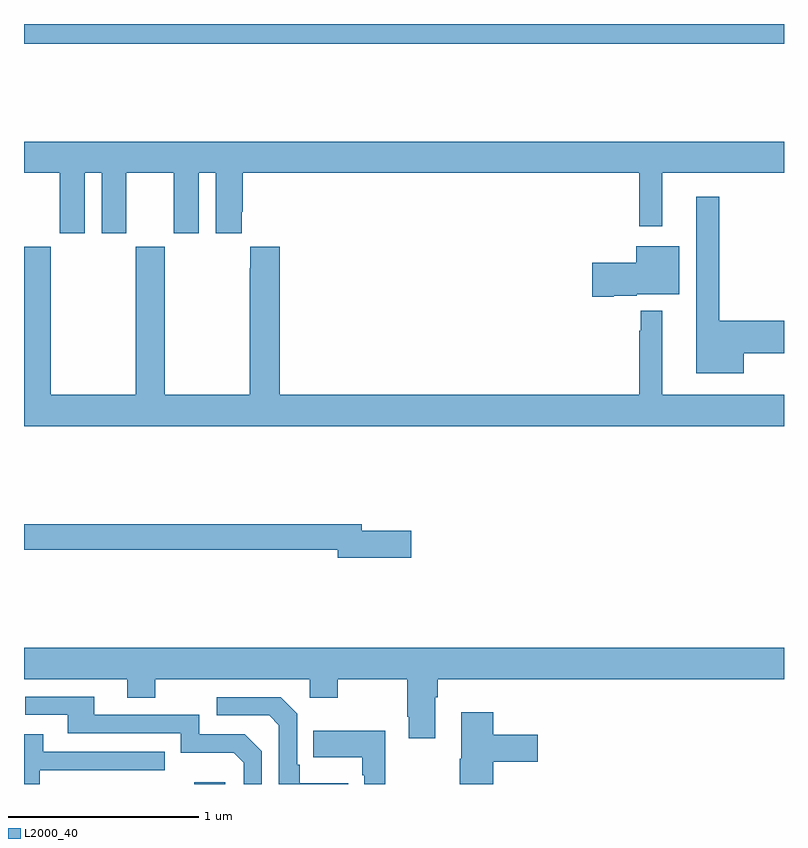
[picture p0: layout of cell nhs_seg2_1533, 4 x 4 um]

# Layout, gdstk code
import gdstk
lib = gdstk.Library(unit=1e-6, precision=1e-09)
def R(c, l, rs):  # rectangles x0, y0, x1, y1
    for r in rs: c.add(gdstk.rectangle(r[:2], r[2:], *l))
def P(c, l, *ps):  # polygons
    for p in ps: c.add(gdstk.Polygon(p, *l))
L2000_40 = (2000, 40)

nhs_seg2_1533 = lib.new_cell('nhs_seg2_1533')
R(nhs_seg2_1533, L2000_40, [(191.897,597.8,192.058,597.808), (191,601.696,195,601.8)])
P(nhs_seg2_1533, L2000_40, [(191.32,601.016),(191.408,601.016),(191.408,600.699),(191.539,600.699),(191.539,601.016),(191.789,601.016),(191.789,600.699),(191.92,600.699),(191.92,601.016),(192.008,601.016),(192.008,600.699),(192.145,600.699),(192.145,600.811),(192.152,600.811),(192.152,601.016),(194.238,601.016),(194.238,600.735),(194.359,600.735),(194.359,601.016),(195,601.016),(195,601.18),(191,601.18),(191,601.016),(191.189,601.016),(191.189,600.699),(191.32,600.699)],
  [(194.788,600.068),(195,600.068),(195,600.239),(194.659,600.239),(194.659,600.892),(194.537,600.892),(194.537,599.963),(194.788,599.963)],
  [(194.104,600.371),(194.226,600.371),(194.226,600.377),(194.449,600.377),(194.449,600.631),(194.222,600.631),(194.222,600.543),(193.992,600.543),(193.992,600.365),(194.104,600.365)],
  [(195,599.848),(194.359,599.848),(194.359,600.292),(194.245,600.292),(194.245,600.185),(194.238,600.185),(194.238,599.848),(192.347,599.848),(192.347,600.628),(192.191,600.628),(192.191,600.515),(192.187,600.515),(192.187,599.848),(191.742,599.848),(191.742,600.628),(191.587,600.628),(191.587,599.848),(191.142,599.848),(191.142,600.628),(191,600.628),(191,599.684),(195,599.684)],
  [(193.039,599.132),(192.778,599.132),(192.778,599.168),(191,599.168),(191,599.032),(192.65,599.032),(192.65,598.99),(193.039,598.99)],
  [(193.165,598.256),(193.178,598.256),(193.178,598.352),(195,598.352),(195,598.516),(191,598.516),(191,598.352),(191.543,598.352),(191.543,598.253),(191.691,598.253),(191.691,598.352),(192.504,598.352),(192.504,598.253),(192.651,598.253),(192.651,598.352),(193.018,598.352),(193.018,598.153),(193.025,598.153),(193.025,598.041),(193.165,598.041)],
  [(192.252,597.972),(192.162,598.062),(191.922,598.062),(191.922,598.164),(191.371,598.164),(191.371,598.26),(191.007,598.26),(191.007,598.164),(191.231,598.164),(191.231,598.068),(191.826,598.068),(191.826,597.965),(192.103,597.965),(192.156,597.912),(192.156,597.8),(192.252,597.8)],
  [(192.707,597.805),(192.451,597.805),(192.451,597.901),(192.438,597.901),(192.438,598.17),(192.351,598.257),(192.015,598.257),(192.015,598.161),(192.291,598.161),(192.342,598.11),(192.342,597.8),(192.707,597.8)],
  [(193.469,597.917),(193.705,597.917),(193.705,598.059),(193.469,598.059),(193.469,598.177),(193.301,598.177),(193.301,597.933),(193.294,597.933),(193.294,597.8),(193.469,597.8)],
  [(192.901,598.081),(192.523,598.081),(192.523,597.941),(192.78,597.941),(192.78,597.845),(192.792,597.845),(192.792,597.8),(192.901,597.8)],
  [(191.082,597.873),(191.741,597.873),(191.741,597.969),(191.101,597.969),(191.101,598.063),(191,598.063),(191,597.8),(191.082,597.8)])

lib.write_gds('nhs_seg2_1533.gds')
